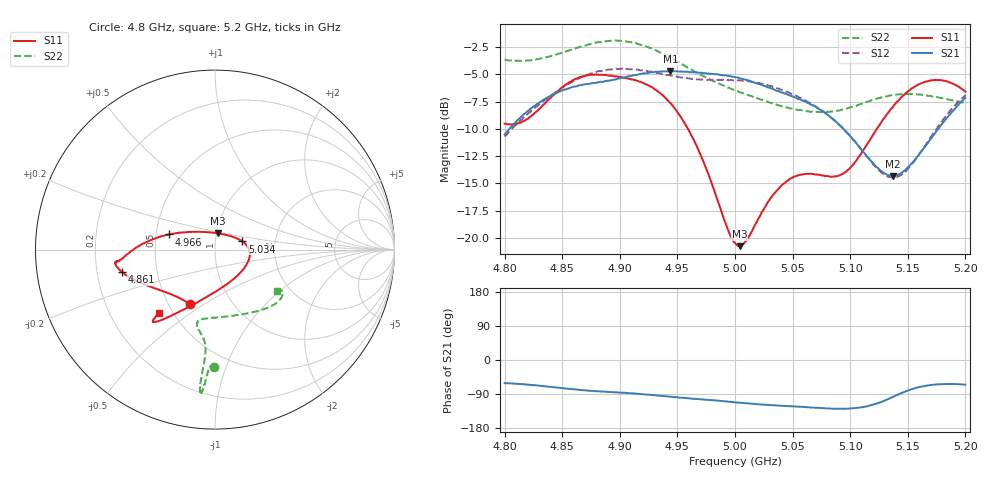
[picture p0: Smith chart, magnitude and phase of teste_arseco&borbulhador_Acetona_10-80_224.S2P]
! Network Analyzer HP8722D
! Hewlett-Packard
! Data name: Linha & Wilkinson
! Saver's name: Rodrigo Anjos
! Comments: Teste da utilização de aquisição
! continua pelo VNA HP8722D
! Time and date: 17/4/2025 16:13
!  Frequency  S11  S21  S12  S22
# HZ  S  MA R 50
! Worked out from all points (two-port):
!   401 points, 4.8 GHz to 5.2 GHz, reference 50 ohm
!   highest |S21| = -4.70 dB at 4.944 GHz (marker M1); lowest = -14.3 dB at 5.137 GHz (marker M2)
!   |S21| within 3 dB of the highest: 4.829 GHz to 5.065 GHz (236.1 MHz wide, 4.77 % of centre); 5.194635 GHz to end of sweep
!   lowest |S11| = -20.8 dB at 5.004 GHz (marker M3), VSWR 1.20, Z = 50.6 + j9.23 ohm
!   |S11| at or under -10 dB: 4.959 GHz to 5.123 GHz (163.9 MHz wide, 3.25 % of centre)
!   |S22| runs from -8.5 to -1.9 dB; largest |S21 - S12| = 0.87
!   S11 on the Smith chart (normalised r, x): 4.8 GHz: 0.64, -0.44; 4.861 GHz: 0.31, -0.11; 4.966 GHz: 0.59, +0.11; 5.034 GHz: 1.35, +0.13; 5.2 GHz: 0.42, -0.38
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4.8e9  0.3342 -114.5  0.2977 -61.1  0.2915 -175.3  0.6555 -90.3
4.819e9  0.3496 -134.5  0.3777 -64.8  0.3659 -174.3  0.6507 -92.0
4.861e9  0.5347 -166.5  0.4947 -77.6  0.5288 -177.6  0.7383 -94.2
4.867e9  0.5486 -168.8  0.5029 -79.5  0.5455 -178.7  0.7559 -94.4
4.9e9  0.547 -173.2  0.5385 -85.8  0.5965 174.9  0.8023 -95.8
4.934e9  0.4653 -179.0  0.5774 -94.3  0.5693 171.3  0.7126 -96.2
4.944e9  0.415 176.3  0.5822 -96.8  0.5548 171.5  0.6708 -95.8
4.966e9  0.2685 161.7  0.5739 -102.5  0.5336 173.3  0.5756 -95.3
5e9  0.09485 96.0  0.5454 -111.7  0.53 175.6  0.4752 -99.3
5.004e9  0.0916 81.1  0.5397 -112.8  0.5285 175.6  0.4659 -100.1
5.011e9  0.09959 57.5  0.5293 -114.6  0.5242 175.3  0.4534 -101.9
5.034e9  0.1597 16.5  0.4793 -119.7  0.4915 174.3  0.4103 -103.3
5.05e9  0.1891 0.6  0.4458 -122.5  0.455 173.7  0.3906 -99.2
5.067e9  0.1966 -17.6  0.4069 -125.4  0.4104 173.3  0.3798 -90.0
5.097e9  0.2023 -70.0  0.3042 -128.5  0.3052 174.8  0.392 -66.7
5.123e9  0.3161 -109.5  0.2107 -115.0  0.2098 -169.7  0.435 -48.6
5.134e9  0.3812 -118.2  0.1935 -101.7  0.19 -154.8  0.449 -43.1
5.137e9  0.3988 -120.0  0.1921 -97.5  0.1893 -149.9  0.4522 -41.8
5.149e9  0.4645 -125.1  0.2078 -81.7  0.2043 -131.8  0.4572 -37.3
5.168e9  0.5243 -129.8  0.2763 -67.0  0.2797 -113.2  0.4481 -32.6
5.184e9  0.5222 -131.2  0.3562 -63.4  0.3675 -107.7  0.4329 -31.4
5.2e9  0.4684 -131.4  0.4393 -65.1  0.4514 -107.1  0.4155 -33.8
